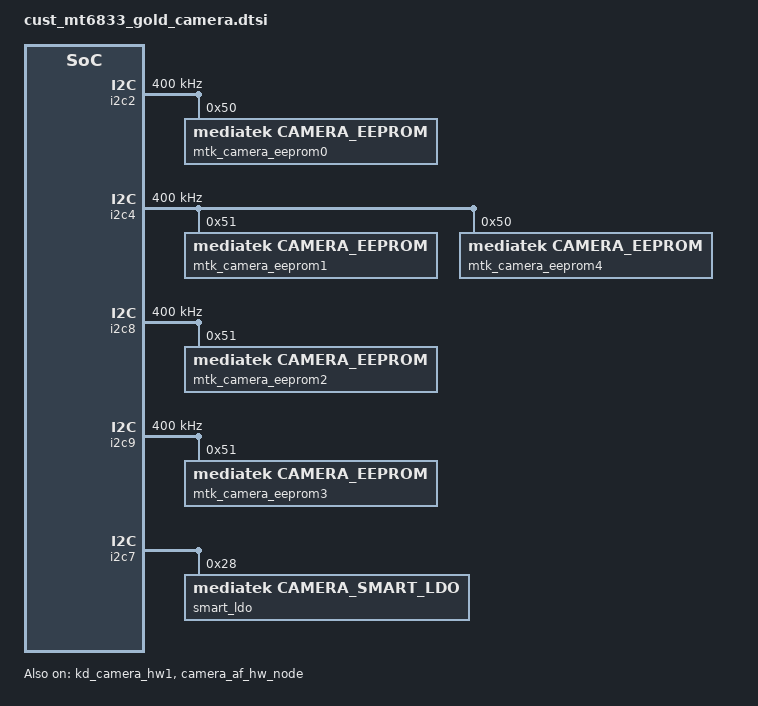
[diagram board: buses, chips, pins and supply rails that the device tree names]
// SPDX-License-Identifier: GPL-2.0
/* Copyright (c) 2020 MediaTek Inc. */
/* CAMERA GPIO standardization */
&pio {
	camera_pins_cam0_rst_0: cam0@0 {
		pins_cmd_dat {
			pinmux = <PINMUX_GPIO56__FUNC_GPIO56>;
			slew-rate = <1>;
			output-low;
		};
	};
	camera_pins_cam0_rst_1: cam0@1 {
		pins_cmd_dat {
			pinmux = <PINMUX_GPIO56__FUNC_GPIO56>;
			slew-rate = <1>;
			output-high;
		};
	};
	camera_pins_cam1_rst_0: cam1@0 {
		pins_cmd_dat {
			pinmux = <PINMUX_GPIO54__FUNC_GPIO54>;
			slew-rate = <1>;
			output-low;
		};
	};
	camera_pins_cam1_rst_1: cam1@1 {
		pins_cmd_dat {
			pinmux = <PINMUX_GPIO54__FUNC_GPIO54>;
			slew-rate = <1>;
			output-high;
		};
	};
/* N17 code for HQ-293327 by changqi start*/
	camera_pins_cam2_rst_0: cam2@0 {
		pins_cmd_dat {
			pinmux = <PINMUX_GPIO60__FUNC_GPIO60>;
			slew-rate = <1>;
			output-low;
		};
	};
	camera_pins_cam2_rst_1: cam2@1 {
		pins_cmd_dat {
			pinmux = <PINMUX_GPIO60__FUNC_GPIO60>;
			slew-rate = <1>;
			output-high;
		};
	};
/* N17 code for HQ-293327 by changqi end*/
	camera_pins_cam4_rst_0: cam4@0 {
		pins_cmd_dat {
			pinmux = <PINMUX_GPIO60__FUNC_GPIO60>;
			slew-rate = <1>;
			output-low;
		};
	};
	camera_pins_cam4_rst_1: cam4@1 {
		pins_cmd_dat {
			pinmux = <PINMUX_GPIO60__FUNC_GPIO60>;
			slew-rate = <1>;
			output-high;
		};
	};
	camera_pins_cam0_vcamd_0: cam0@vcam0 {
		pins_cmd_dat {
			pinmux = <PINMUX_GPIO40__FUNC_GPIO40>;
			slew-rate = <1>;
			output-low;
		};
	};
	camera_pins_cam0_vcamd_1: cam0@vcam1 {
		pins_cmd_dat {
			pinmux = <PINMUX_GPIO40__FUNC_GPIO40>;
			slew-rate = <1>;
			output-high;
		};
	};
	camera_pins_cam0_vcama_0: cam0@vcam2 {
		pins_cmd_dat {
			pinmux = <PINMUX_GPIO90__FUNC_GPIO90>;
			slew-rate = <1>;
			output-low;
		};
	};
	camera_pins_cam0_vcama_1: cam0@vcam3 {
		pins_cmd_dat {
			pinmux = <PINMUX_GPIO90__FUNC_GPIO90>;
			slew-rate = <1>;
			output-high;
		};
	};
	/* N17 code for HQ-293325 by miaozhongshu at 2023/04/21 start */
	camera_pins_cam0_vcamd1_0: cam0@vcam4 {
		pins_cmd_dat {
			pinmux = <PINMUX_GPIO88__FUNC_GPIO88>;
			slew-rate = <1>;
			output-low;
		};
	};
	camera_pins_cam0_vcamd1_1: cam0@vcam5 {
		pins_cmd_dat {
			pinmux = <PINMUX_GPIO88__FUNC_GPIO88>;
			slew-rate = <1>;
			output-high;
		};
	};
	/* N17 code for HQ-293325 by miaozhongshu at 2023/04/21 end */
	/* N17 code for HQ-293325 by chenxiaoyong at 2023/04/21 start */
	camera_pins_cam0_vcamafvdd_0: cam0@vcam6 {
		pins_cmd_dat {
			pinmux = <PINMUX_GPIO139__FUNC_GPIO139>;
			slew-rate = <1>;
			output-low;
		};
	};
	camera_pins_cam0_vcamafvdd_1: cam0@vcam7 {
		pins_cmd_dat {
			pinmux = <PINMUX_GPIO139__FUNC_GPIO139>;
			slew-rate = <1>;
			output-high;
		};
	};
	/* N17 code for HQ-293325 by chenxiaoyong at 2023/04/21 end */
	/* N17 code for HQ-293326 by zhaoyue start*/
	camera_pins_cam1_vcamd_0: cam1@vcam0 {
		pins_cmd_dat {
			pinmux = <PINMUX_GPIO94__FUNC_GPIO94>;
			slew-rate = <1>;
			output-low;
		};
	};
	camera_pins_cam1_vcamd_1: cam1@vcam1 {
		pins_cmd_dat {
			pinmux = <PINMUX_GPIO94__FUNC_GPIO94>;
			slew-rate = <1>;
			output-high;
		};
	};
	camera_pins_cam1_vcama_0: cam1@vcam2 {
		pins_cmd_dat {
			pinmux = <PINMUX_GPIO89__FUNC_GPIO89>;
			slew-rate = <1>;
			output-low;
		};
	};
	camera_pins_cam1_vcama_1: cam1@vcam3 {
		pins_cmd_dat {
			pinmux = <PINMUX_GPIO89__FUNC_GPIO89>;
			slew-rate = <1>;
			output-high;
		};
	};
/* N17 code for HQ-293326 by zhaoyue end*/
/* N17 code for HQ-293327 by changqi start*/
	camera_pins_cam2_vcamd_0: cam2@vcam0 {
		pins_cmd_dat {
			pinmux = <PINMUX_GPIO94__FUNC_GPIO94>;
			slew-rate = <1>;
			output-low;
		};
	};
	camera_pins_cam2_vcamd_1: cam2@vcam1 {
		pins_cmd_dat {
			pinmux = <PINMUX_GPIO94__FUNC_GPIO94>;
			slew-rate = <1>;
			output-high;
		};
	};
	camera_pins_cam2_vcama_0: cam2@vcam2 {
		pins_cmd_dat {
			pinmux = <PINMUX_GPIO89__FUNC_GPIO89>;
			slew-rate = <1>;
			output-low;
		};
	};
	camera_pins_cam2_vcama_1: cam2@vcam3 {
		pins_cmd_dat {
			pinmux = <PINMUX_GPIO89__FUNC_GPIO89>;
			slew-rate = <1>;
			output-high;
		};
	};
/* N17 code for HQ-293327 by changqi end*/
	camera_pins_cam4_vcamd_0: cam4@vcam0 {
		pins_cmd_dat {
			pinmux = <PINMUX_GPIO93__FUNC_GPIO93>;
			slew-rate = <1>;
			output-low;
		};
	};
	camera_pins_cam4_vcamd_1: cam4@vcam1 {
		pins_cmd_dat {
			pinmux = <PINMUX_GPIO93__FUNC_GPIO93>;
			slew-rate = <1>;
			output-high;
		};
	};
	camera_pins_cam4_vcama_0: cam4@vcam2 {
		pins_cmd_dat {
			pinmux = <PINMUX_GPIO80__FUNC_GPIO80>;
			slew-rate = <1>;
			output-low;
		};
	};
	camera_pins_cam4_vcama_1: cam4@vcam3 {
		pins_cmd_dat {
			pinmux = <PINMUX_GPIO80__FUNC_GPIO80>;
			slew-rate = <1>;
			output-high;
		};
	};
	camera_pins_cam0_mclk_off: camera_pins_cam0_mclk_off {
		pins_cmd_dat {
			pinmux = <PINMUX_GPIO50__FUNC_GPIO50>;
			drive-strength = <1>;
		};
	};
	camera_pins_cam0_mclk_2ma: camera_pins_cam0_mclk_2ma {
		pins_cmd_dat {
			pinmux = <PINMUX_GPIO50__FUNC_CMMCLK1>;
			drive-strength = <0>;
		};
	};
	camera_pins_cam0_mclk_4ma: camera_pins_cam0_mclk_4ma {
		pins_cmd_dat {
			pinmux = <PINMUX_GPIO50__FUNC_CMMCLK1>;
			drive-strength = <1>;
		};
	};
	camera_pins_cam0_mclk_6ma: camera_pins_cam0_mclk_6ma {
		pins_cmd_dat {
			pinmux = <PINMUX_GPIO50__FUNC_CMMCLK1>;
			drive-strength = <2>;
		};
	};
	camera_pins_cam0_mclk_8ma: camera_pins_cam0_mclk_8ma {
		pins_cmd_dat {
			pinmux = <PINMUX_GPIO50__FUNC_CMMCLK1>;
			drive-strength = <3>;
		};
	};
	camera_pins_cam1_mclk_off: camera_pins_cam1_mclk_off {
		pins_cmd_dat {
			pinmux = <PINMUX_GPIO49__FUNC_GPIO49>;
			drive-strength = <1>;
		};
	};
	camera_pins_cam1_mclk_2ma: camera_pins_cam1_mclk_2ma {
		pins_cmd_dat {
			pinmux = <PINMUX_GPIO49__FUNC_CMMCLK0>;
			drive-strength = <0>;
		};
	};
	camera_pins_cam1_mclk_4ma: camera_pins_cam1_mclk_4ma {
		pins_cmd_dat {
			pinmux = <PINMUX_GPIO49__FUNC_CMMCLK0>;
			drive-strength = <1>;
		};
	};
	camera_pins_cam1_mclk_6ma: camera_pins_cam1_mclk_6ma {
		pins_cmd_dat {
			pinmux = <PINMUX_GPIO49__FUNC_CMMCLK0>;
			drive-strength = <2>;
		};
	};
	camera_pins_cam1_mclk_8ma: camera_pins_cam1_mclk_8ma {
		pins_cmd_dat {
			pinmux = <PINMUX_GPIO49__FUNC_CMMCLK0>;
			drive-strength = <3>;
		};
	};
/* N17 code for HQ-293327 by changqi start*/
	camera_pins_cam2_mclk_off: camera_pins_cam2_mclk_off {
		pins_cmd_dat {
			pinmux = <PINMUX_GPIO52__FUNC_GPIO52>;
			drive-strength = <1>;
		};
	};
	camera_pins_cam2_mclk_2ma: camera_pins_cam2_mclk_2ma {
		pins_cmd_dat {
			pinmux = <PINMUX_GPIO52__FUNC_CMMCLK3>;
			drive-strength = <0>;
		};
	};
	camera_pins_cam2_mclk_4ma: camera_pins_cam2_mclk_4ma {
		pins_cmd_dat {
			pinmux = <PINMUX_GPIO52__FUNC_CMMCLK3>;
			drive-strength = <1>;
		};
	};
	camera_pins_cam2_mclk_6ma: camera_pins_cam2_mclk_6ma {
		pins_cmd_dat {
			pinmux = <PINMUX_GPIO52__FUNC_CMMCLK3>;
			drive-strength = <2>;
		};
	};
	camera_pins_cam2_mclk_8ma: camera_pins_cam2_mclk_8ma {
		pins_cmd_dat {
			pinmux = <PINMUX_GPIO52__FUNC_CMMCLK3>;
			drive-strength = <3>;
		};
	};
/* N17 code for HQ-293327 by changqi end*/
	camera_pins_cam4_mclk_off: camera_pins_cam4_mclk_off {
		pins_cmd_dat {
			pinmux = <PINMUX_GPIO52__FUNC_GPIO52>;
			drive-strength = <1>;
		};
	};
	camera_pins_cam4_mclk_2ma: camera_pins_cam4_mclk_2ma {
		pins_cmd_dat {
			pinmux = <PINMUX_GPIO52__FUNC_CMMCLK3>;
			drive-strength = <0>;
		};
	};
	camera_pins_cam4_mclk_4ma: camera_pins_cam4_mclk_4ma {
		pins_cmd_dat {
			pinmux = <PINMUX_GPIO52__FUNC_CMMCLK3>;
			drive-strength = <1>;
		};
	};
	camera_pins_cam4_mclk_6ma: camera_pins_cam4_mclk_6ma {
		pins_cmd_dat {
			pinmux = <PINMUX_GPIO52__FUNC_CMMCLK3>;
			drive-strength = <2>;
		};
	};
	camera_pins_cam4_mclk_8ma: camera_pins_cam4_mclk_8ma {
		pins_cmd_dat {
			pinmux = <PINMUX_GPIO52__FUNC_CMMCLK3>;
			drive-strength = <3>;
		};
	};
	camera_pins_cam_mipi_switch_en_1: mipi_en@1 {
		pins_cmd_dat {
			pinmux = <PINMUX_GPIO131__FUNC_GPIO131>;
			slew-rate = <1>;
			output-high;
		};
	};
	camera_pins_cam_mipi_switch_en_0: mipi_en@0 {
		pins_cmd_dat {
			pinmux = <PINMUX_GPIO131__FUNC_GPIO131>;
			slew-rate = <1>;
			output-low;
		};
	};
	camera_pins_cam_mipi_switch_sel_1: mipi_sel@1 {
		pins_cmd_dat {
			pinmux = <PINMUX_GPIO132__FUNC_GPIO132>;
			slew-rate = <1>;
			output-high;
		};
	};
	camera_pins_cam_mipi_switch_sel_0: mipi_sel@0 {
		pins_cmd_dat {
			pinmux = <PINMUX_GPIO132__FUNC_GPIO132>;
			slew-rate = <1>;
			output-low;
		};
	};
	/* N17 code for HQ-293328 by yinrong at 2023/04/27 start */
	camera_pins_cam3_rst_0: cam3@0 {
		pins_cmd_dat {
			pinmux = <PINMUX_GPIO58__FUNC_GPIO58>;
			slew-rate = <1>;
			output-low;
		};
	};
	camera_pins_cam3_rst_1: cam3@1 {
		pins_cmd_dat {
			pinmux = <PINMUX_GPIO58__FUNC_GPIO58>;
			slew-rate = <1>;
			output-high;
		};
	};
	camera_pins_cam3_vcama_0: cam3@vcam2 {
		pins_cmd_dat {
			pinmux = <PINMUX_GPIO89__FUNC_GPIO89>;
			slew-rate = <1>;
			output-low;
		};
	};
	camera_pins_cam3_vcama_1: cam3@vcam3 {
		pins_cmd_dat {
			pinmux = <PINMUX_GPIO89__FUNC_GPIO89>;
			slew-rate = <1>;
			output-high;
		};
	};
	camera_pins_cam3_mclk_off: camera_pins_cam3_mclk_off {
		pins_cmd_dat {
			pinmux = <PINMUX_GPIO51__FUNC_GPIO51>;
			drive-strength = <1>;
		};
	};
	camera_pins_cam3_mclk_2ma: camera_pins_cam3_mclk_2ma {
		pins_cmd_dat {
			pinmux = <PINMUX_GPIO51__FUNC_CMMCLK2>;
			drive-strength = <0>;
		};
	};
	camera_pins_cam3_mclk_4ma: camera_pins_cam3_mclk_4ma {
		pins_cmd_dat {
			pinmux = <PINMUX_GPIO51__FUNC_CMMCLK2>;
			drive-strength = <1>;
		};
	};
	camera_pins_cam3_mclk_6ma: camera_pins_cam3_mclk_6ma {
		pins_cmd_dat {
			pinmux = <PINMUX_GPIO51__FUNC_CMMCLK2>;
			drive-strength = <2>;
		};
	};
	camera_pins_cam3_mclk_8ma: camera_pins_cam3_mclk_8ma {
		pins_cmd_dat {
			pinmux = <PINMUX_GPIO51__FUNC_CMMCLK2>;
			drive-strength = <3>;
		};
	};
    /* N17 code for HQ-293328 by yinrong at 2023/04/27 end */
	camera_pins_default: camdefault {
	};
};
&kd_camera_hw1 {
	pinctrl-names = "default",
			"cam0_rst0", "cam0_rst1",
			"cam1_rst0", "cam1_rst1",
			"cam2_rst0", "cam2_rst1",
			/* N17 code for HQ-293328 by yinrong at 2023/04/27 start */
			"cam3_rst0", "cam3_rst1",
			/* N17 code for HQ-293328 by yinrong at 2023/04/27 end */
			"cam4_rst0", "cam4_rst1",
			"cam0_ldo_vcamd_0", "cam0_ldo_vcamd_1",
			"cam0_ldo_vcama_0", "cam0_ldo_vcama_1",
			"cam1_ldo_vcamd_0", "cam1_ldo_vcamd_1",
			"cam1_ldo_vcama_0", "cam1_ldo_vcama_1",
			"cam2_ldo_vcamd_0", "cam2_ldo_vcamd_1",
			"cam2_ldo_vcama_0", "cam2_ldo_vcama_1",
			/* N17 code for HQ-293328 by yinrong at 2023/04/27 start */
			"cam3_ldo_vcama_0", "cam3_ldo_vcama_1",
			/* N17 code for HQ-293328 by yinrong at 2023/04/27 end */
			"cam4_ldo_vcamd_0", "cam4_ldo_vcamd_1",
			"cam4_ldo_vcama_0", "cam4_ldo_vcama_1",
			"cam0_mclk_off",
			"cam0_mclk_2mA", "cam0_mclk_4mA",
			"cam0_mclk_6mA", "cam0_mclk_8mA",
			"cam1_mclk_off",
			"cam1_mclk_2mA", "cam1_mclk_4mA",
			"cam1_mclk_6mA", "cam1_mclk_8mA",
			"cam2_mclk_off",
			"cam2_mclk_2mA", "cam2_mclk_4mA",
			"cam2_mclk_6mA", "cam2_mclk_8mA",
			/* N17 code for HQ-293328 by yinrong at 2023/04/27 start */
			"cam3_mclk_off",
			"cam3_mclk_2mA", "cam3_mclk_4mA",
			"cam3_mclk_6mA", "cam3_mclk_8mA",
			/* N17 code for HQ-293328 by yinrong at 2023/04/27 end */
			"cam4_mclk_off",
			"cam4_mclk_2mA", "cam4_mclk_4mA",
			"cam4_mclk_6mA", "cam4_mclk_8mA",
	/* N17 code for HQ-293325 by miaozhongshu at 2023/04/21 start */
			"cam_mipi_switch_en_1", "cam_mipi_switch_en_0",
	/* N17 code for HQ-293325 by chenxiaoyong at 2023/04/21 start */
			"cam_mipi_switch_sel_1", "cam_mipi_switch_sel_0",
			"cam0_ldo_vcamafvdd_0", "cam0_ldo_vcamafvdd_1",
	/* N17 code for HQ-293325 by chenxiaoyong at 2023/04/21 end */
			"cam0_ldo_vcamd1_0", "cam0_ldo_vcamd1_1";
	/* N17 code for HQ-293325 by miaozhongshu at 2023/04/21 end */
	/* N17 code for HQ-293328 by yinrong at 2023/04/27 start */
	pinctrl-0 = <&camera_pins_default>;
	pinctrl-1 = <&camera_pins_cam0_rst_0>;
	pinctrl-2 = <&camera_pins_cam0_rst_1>;
	pinctrl-3 = <&camera_pins_cam1_rst_0>;
	pinctrl-4 = <&camera_pins_cam1_rst_1>;
	pinctrl-5 = <&camera_pins_cam2_rst_0>;
	pinctrl-6 = <&camera_pins_cam2_rst_1>;
    pinctrl-7 = <&camera_pins_cam3_rst_0>;
	pinctrl-8 = <&camera_pins_cam3_rst_1>;
	pinctrl-9 = <&camera_pins_cam4_rst_0>;
	pinctrl-10 = <&camera_pins_cam4_rst_1>;
	pinctrl-11 = <&camera_pins_cam0_vcamd_0>;
	pinctrl-12 = <&camera_pins_cam0_vcamd_1>;
	pinctrl-13 = <&camera_pins_cam0_vcama_0>;
	pinctrl-14 = <&camera_pins_cam0_vcama_1>;
	pinctrl-15 = <&camera_pins_cam1_vcamd_0>;
	pinctrl-16 = <&camera_pins_cam1_vcamd_1>;
	pinctrl-17 = <&camera_pins_cam1_vcama_0>;
	pinctrl-18 = <&camera_pins_cam1_vcama_1>;
	pinctrl-19 = <&camera_pins_cam2_vcamd_0>;
	pinctrl-20 = <&camera_pins_cam2_vcamd_1>;
	pinctrl-21 = <&camera_pins_cam2_vcama_0>;
	pinctrl-22 = <&camera_pins_cam2_vcama_1>;
	pinctrl-23 = <&camera_pins_cam3_vcama_0>;
	pinctrl-24 = <&camera_pins_cam3_vcama_1>;
	pinctrl-25 = <&camera_pins_cam4_vcamd_0>;
	pinctrl-26 = <&camera_pins_cam4_vcamd_1>;
	pinctrl-27 = <&camera_pins_cam4_vcama_0>;
	pinctrl-28 = <&camera_pins_cam4_vcama_1>;
	pinctrl-29 = <&camera_pins_cam0_mclk_off>;
	pinctrl-30 = <&camera_pins_cam0_mclk_2ma>;
	pinctrl-31 = <&camera_pins_cam0_mclk_4ma>;
	pinctrl-32 = <&camera_pins_cam0_mclk_6ma>;
	pinctrl-33 = <&camera_pins_cam0_mclk_8ma>;
	pinctrl-34 = <&camera_pins_cam1_mclk_off>;
	pinctrl-35 = <&camera_pins_cam1_mclk_2ma>;
	pinctrl-36 = <&camera_pins_cam1_mclk_4ma>;
	pinctrl-37 = <&camera_pins_cam1_mclk_6ma>;
	pinctrl-38 = <&camera_pins_cam1_mclk_8ma>;
	pinctrl-39 = <&camera_pins_cam2_mclk_off>;
	pinctrl-40 = <&camera_pins_cam2_mclk_2ma>;
	pinctrl-41 = <&camera_pins_cam2_mclk_4ma>;
	pinctrl-42 = <&camera_pins_cam2_mclk_6ma>;
	pinctrl-43 = <&camera_pins_cam2_mclk_8ma>;
	pinctrl-44 = <&camera_pins_cam3_mclk_off>;
	pinctrl-45 = <&camera_pins_cam3_mclk_2ma>;
	pinctrl-46 = <&camera_pins_cam3_mclk_4ma>;
	pinctrl-47 = <&camera_pins_cam3_mclk_6ma>;
	pinctrl-48 = <&camera_pins_cam3_mclk_8ma>;
	pinctrl-49 = <&camera_pins_cam4_mclk_off>;
	pinctrl-50 = <&camera_pins_cam4_mclk_2ma>;
	pinctrl-51 = <&camera_pins_cam4_mclk_4ma>;
	pinctrl-52 = <&camera_pins_cam4_mclk_6ma>;
	pinctrl-53 = <&camera_pins_cam4_mclk_8ma>;
	pinctrl-54 = <&camera_pins_cam_mipi_switch_en_1>;
	pinctrl-55 = <&camera_pins_cam_mipi_switch_en_0>;
	pinctrl-56 = <&camera_pins_cam_mipi_switch_sel_1>;
	pinctrl-57 = <&camera_pins_cam_mipi_switch_sel_0>;
	/* N17 code for HQ-293325 by chenxiaoyong at 2023/04/21 start */
	pinctrl-58 = <&camera_pins_cam0_vcamafvdd_0>;
	pinctrl-59 = <&camera_pins_cam0_vcamafvdd_1>;
	/* N17 code for HQ-293325 by chenxiaoyong at 2023/04/21 end */
	/* N17 code for HQ-293325 by miaozhongshu at 2023/04/21 start */
	pinctrl-60 = <&camera_pins_cam0_vcamd1_0>;
	pinctrl-61 = <&camera_pins_cam0_vcamd1_1>;
	/* N17 code for HQ-293325 by miaozhongshu at 2023/04/21 end */
	/* N17 code for HQ-293328 by yinrong at 2023/04/27 end */

	cam0_vcamio-supply = <&mt6359p_vcamio_reg>;
	cam1_vcamio-supply = <&mt6359p_vcamio_reg>;
	cam2_vcamio-supply = <&mt6359p_vcamio_reg>;
	/* N17 code for HQ-293328 by yinrong at 2023/04/27 start */
	cam3_vcamio-supply = <&mt6359p_vcamio_reg>;
	/* N17 code for HQ-293328 by yinrong at 2023/04/27 end */

/* N17 code for HQ-293742 by miaozhongshu at 2023/05/08 start */
	cam0_pin_mclk = "mclk";
	cam0_pin_rst = "gpio";
	cam0_pin_vcama = "smatrldo";
	cam0_pin_vcamd = "smatrldo";
	cam0_pin_vcamd1 = "smatrldo";
	cam0_pin_vcamio = "regulator";
	/* N17 code for HQ-293325 by chenxiaoyong at 2023/04/21 start */
	cam0_pin_vcamaf = "gpio";
	/* N17 code for HQ-293325 by chenxiaoyong at 2023/04/21 end */
	cam1_pin_mclk = "mclk";
	cam1_pin_rst = "gpio";
	cam1_pin_vcama = "smatrldo";
	cam1_pin_vcamd = "smatrldo";
	cam1_pin_vcamio = "regulator";
	cam1_pin_mipi_switch_en = "gpio";
	cam1_pin_mipi_switch_sel = "gpio";
	cam2_pin_mclk = "mclk";
	cam2_pin_rst = "gpio";
	cam2_pin_vcama = "smatrldo";
	cam2_pin_vcamd = "smatrldo";
	cam2_pin_vcamio = "regulator";
	cam2_pin_mipi_switch_en = "gpio";
	cam2_pin_mipi_switch_sel = "gpio";
	cam3_pin_mclk = "mclk";
	cam3_pin_rst = "gpio";
	cam3_pin_vcama = "smatrldo";
	cam3_pin_vcamd = "smatrldo";
	cam3_pin_vcamio = "regulator";
	cam4_pin_mclk = "mclk";
	cam4_pin_rst = "gpio";
	cam4_pin_vcama = "gpio";
	cam4_pin_vcamd = "gpio";
	cam4_pin_vcamio = "regulator";
/* N17 code for HQ-293742 by miaozhongshu at 2023/05/08 end */

	/* N17 code for HQ-293325 by chenxiaoyong at 2023/04/21 start */
	cam0_enable_sensor = "s5khm6_semco_main_mipi_raw s5khm6_aac_main_mipi_raw ov64b40_ofilm_main_mipi_raw ov50d40_sunny_main_mipi_raw";
	cam1_enable_sensor = "ov16a1q_aac_front_mipi_raw ov16a1q_sunny_front_mipi_raw";
	/* N17 code for HQ-293329 by wuzhenyue at 2023/04/27 start */
	cam2_enable_sensor = "ov08d10_aac_ultra_mipi_raw ov08d10_sunny_ultra_mipi_raw sc202cs_aac_depth_mipi_raw sc202cs_sunny_depth_mipi_raw sc202cs_sunny2_depth_mipi_raw";
	/* N17 code for HQ-293329 by wuzhenyue at 2023/04/27 end */
	/* N17 code for HQ-293328 by yinrong at 2023/05/08 start */
	cam3_enable_sensor = "sc202pcs_aac_macro_mipi_raw sc202pcs_sunny_macro_mipi_raw";
	/* N17 code for HQ-293328 by yinrong at 2023/05/08 end */
	/* N17 code for HQ-293325 by chenxiaoyong at 2023/04/21 end */
	status = "okay";
};
/* CAMERA GPIO end */

/* CAMERA EEPROM */
&i2c2 {
	status = "okay";
	clock-frequency = <400000>;
	#address-cells = <1>;
	#size-cells = <0>;

	mtk_camera_eeprom0:camera_eeprom0@50 {
		compatible = "mediatek,camera_eeprom";
		reg = <0x50>;
		status = "okay";
	};

};
&i2c4 {
	status = "okay";
	clock-frequency = <400000>;
	#address-cells = <1>;
	#size-cells = <0>;

	mtk_camera_eeprom1:camera_eeprom1@51 {
		compatible = "mediatek,camera_eeprom";
		reg = <0x51>;
		status = "okay";
	};
/* N17 code for HQ-293327 by changqi start*/
	mtk_camera_eeprom4:camera_eeprom4@50 {
		compatible = "mediatek,camera_eeprom";
		reg = <0x50>;
		status = "okay";
	};
};
&i2c8 {
	status = "okay";
	clock-frequency = <400000>;
	#address-cells = <1>;
	#size-cells = <0>;

	mtk_camera_eeprom2:camera_eeprom2@51 {
		compatible = "mediatek,camera_eeprom";
		reg = <0x51>;
		status = "okay";
	};
/* N17 code for HQ-293327 by changqi end*/
};
/* N17 code for HQ-293328 by yinrong at 2023/05/05 start */
&i2c9 {
	status = "okay";
	clock-frequency = <400000>;
	#address-cells = <1>;
	#size-cells = <0>;
	mtk_camera_eeprom3:camera_eeprom3@51 {
		compatible = "mediatek,camera_eeprom";
		reg = <0x51>;
		status = "okay";
	};
};
/* N17 code for HQ-293328 by yinrong at 2023/05/05 end */
/* CAMERA EEPROM end */
/* N17 code for HQ-293742 by miaozhongshu at 2023/05/08 start */
&i2c7 {
    smart_ldo:smart_ldo@28 {
        compatible = "mediatek,camera_smart_ldo";
		reg = <0x28>;
		status = "okay";
	};
};
/* N17 code for HQ-293742 by miaozhongshu at 2023/05/08 end */
/* CAMERA AF */
&camera_af_hw_node {
	status = "okay";
};
/* CAMERA AF end */

